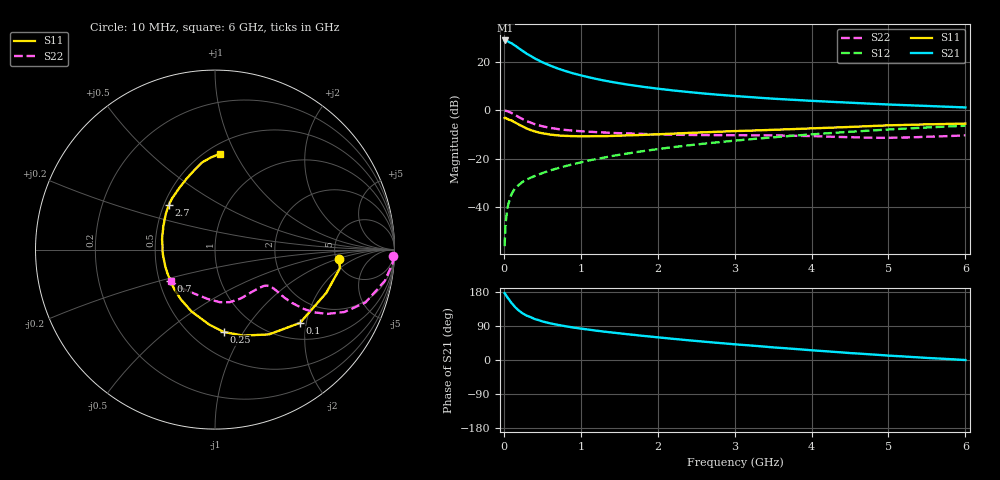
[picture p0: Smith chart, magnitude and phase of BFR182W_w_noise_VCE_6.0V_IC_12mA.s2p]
! Infineon Technologies  Discrete & RF Semiconductors
! BFR182W
! VCE =  6.0 V,  IC =  12 mA
! Common Emitter S-Parameters:  Jan 2017
# GHz  S  MA  R  50
!  f  S11  S21  S12  S22
! GHz  MAG  ANG  MAG  ANG  MAG  ANG  MAG  ANG
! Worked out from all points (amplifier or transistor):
!   77 points, 10 MHz to 6 GHz, reference 50 ohm
!   highest |S21| = 29.2 dB at 20 MHz (marker M1)
!   |S21| within 3 dB of that: start of sweep to 184.1 MHz
!   unconditionally stable (mu >= 1): 995.3 MHz to 2.563 GHz
!   at 130 MHz: K = 0.32, MSG = 30.2 dB, |S12| = -33.2 dB
!   at 2.2 GHz: K = 1.02, MAG = 11.0 dB, |S12| = -15.3 dB
!   at 6 GHz: K = 0.86, MSG = 3.8 dB, |S12| = -6.3 dB
!   lowest NFmin = 1.14 dB at 450 MHz
!   S11 on the Smith chart (normalised r, x): 10 MHz: 5.33, -1.10; 100 MHz: 1.37, -1.84; 250 MHz: 0.70, -0.82; 700 MHz: 0.57, -0.22; 2.7 GHz: 0.53, +0.30; 6 GHz: 0.58, +0.87
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0.01  0.6953 -4.4  28.61 176.3  0.0015 89.8  0.9933 -2.0
0.02  0.7028 -8.7  28.68 173.4  0.0037 95.1  0.9927 -4.4
0.05  0.6654 -21.2  27.59 164.2  0.0097 81.4  0.9618 -10.5
0.1  0.6253 -40.8  25.15 150.3  0.0181 74.5  0.8891 -19.3
0.15  0.5601 -57.5  22.23 138.8  0.0246 66.3  0.8012 -25.7
0.2  0.5042 -71.9  19.47 129.7  0.0286 64.0  0.7207 -29.8
0.25  0.461 -84.1  17.14 122.3  0.0333 62.4  0.6541 -32.3
0.3  0.4195 -94.3  15.12 116.8  0.0368 61.0  0.5978 -33.7
0.4  0.3684 -111.0  12.19 108.2  0.0432 61.8  0.52 -34.7
0.5  0.3359 -124.7  10.1 101.9  0.0497 61.6  0.4699 -34.7
0.6  0.3161 -135.8  8.626 96.9  0.0565 62.8  0.4354 -34.2
0.7  0.3032 -145.1  7.493 92.8  0.0628 64.9  0.4112 -33.8
0.9  0.2928 -160.7  5.934 85.8  0.0762 65.6  0.3805 -33.6
1.1  0.2911 -172.4  4.932 80.2  0.0908 66.5  0.3621 -34.0
1.3  0.2926 177.3  4.213 75.0  0.1044 67.1  0.3489 -35.2
1.5  0.2999 169.5  3.691 70.5  0.1194 66.8  0.3374 -37.2
2.1  0.3245 150.4  2.728 57.9  0.1648 65.1  0.316 -46.3
2.7  0.3564 136.2  2.188 46.7  0.2116 61.9  0.3076 -58.5
3.1  0.3766 127.7  1.951 39.9  0.2436 59.3  0.3052 -66.5
4.1  0.4301 110.6  1.56 24.3  0.3267 51.3  0.2898 -87.3
5.1  0.4954 97.2  1.313 10.4  0.4102 42.1  0.2716 -117.4
6  0.5351 86.9  1.158 -0.1  0.4818 33.1  0.3042 -144.4
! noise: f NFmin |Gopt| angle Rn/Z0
0.45  1.14  0.05  71  0.15
0.9  1.22  0.06  102  0.15
1.9  1.71  0.21  -156  0.14
2.4  1.97  0.2  -143  0.21
